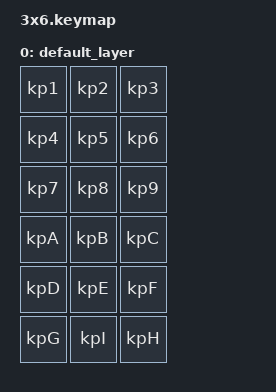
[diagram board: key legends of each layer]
#include <behaviors.dtsi>
#include <dt-bindings/zmk/keys.h>
#include <dt-bindings/zmk/bt.h>

/ {
    compatible = "zmk,keymap";

    default_layer {
        bindings = <
            &kp KP_N1 &kp KP_N2 &kp KP_N3
            &kp KP_N4 &kp KP_N5 &kp KP_N6
            &kp KP_N7 &kp KP_N8 &kp KP_N9
            &kp KP_A &kp KP_B &kp KP_C
            &kp KP_D &kp KP_E &kp KP_F
            &kp KP_G &kp KP_I &kp KP_H
        >;
    };
};
